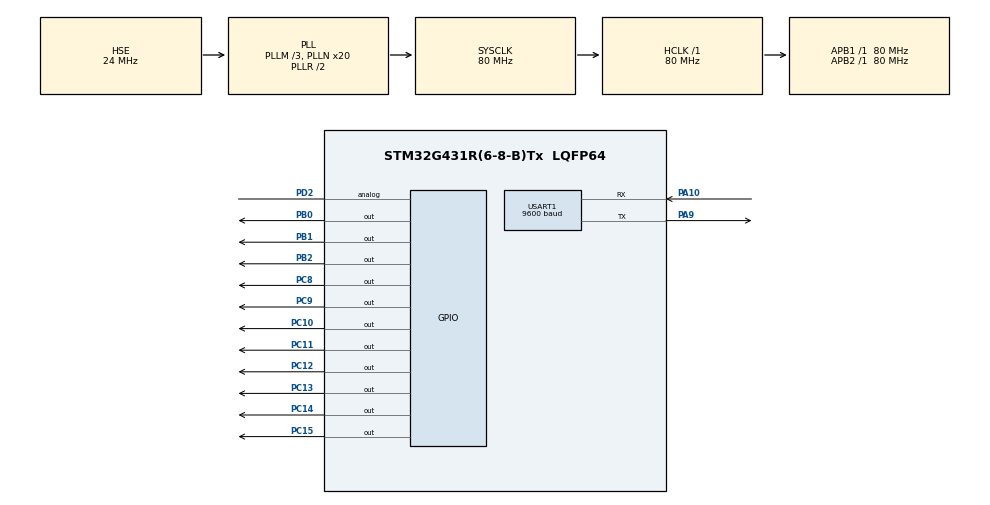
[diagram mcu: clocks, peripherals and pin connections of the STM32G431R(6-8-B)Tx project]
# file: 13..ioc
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Mcu.Family=STM32G4
Mcu.Name=STM32G431R(6-8-B)Tx
Mcu.Package=LQFP64
NVIC.PriorityGroup=NVIC_PRIORITYGROUP_4
PA10.Mode=Asynchronous
PA10.Signal=USART1_RX
PA13.Mode=Serial_Wire
PA13.Signal=SYS_JTMS-SWDIO
PA14.Mode=Serial_Wire
PA14.Signal=SYS_JTCK-SWCLK
PA9.Mode=Asynchronous
PA9.Signal=USART1_TX
PB0.Signal=GPIO_Output
PB1.Signal=GPIO_Output
PB2.Signal=GPIO_Output
PC10.Signal=GPIO_Output
PC11.Signal=GPIO_Output
PC12.Signal=GPIO_Output
PC13.Signal=GPIO_Output
PC14-OSC32_IN.Signal=GPIO_Output
PC15-OSC32_OUT.Signal=GPIO_Output
PC8.Signal=GPIO_Output
PC9.Signal=GPIO_Output
PD2.Signal=GPIO_Analog
PF0-OSC_IN.Mode=HSE-External-Oscillator
PF0-OSC_IN.Signal=RCC_OSC_IN
PF1-OSC_OUT.Mode=HSE-External-Oscillator
PF1-OSC_OUT.Signal=RCC_OSC_OUT
ProjectManager.HeapSize=0x200
ProjectManager.StackSize=0x400
ProjectManager.TargetToolchain=MDK-ARM V5.27
RCC.ADC12Freq_Value=80000000
RCC.AHBFreq_Value=80000000
RCC.APB1Freq_Value=80000000
RCC.APB1TimFreq_Value=80000000
RCC.APB2Freq_Value=80000000
RCC.APB2TimFreq_Value=80000000
RCC.CortexFreq_Value=80000000
RCC.EXTERNAL_CLOCK_VALUE=12288000
RCC.HCLKFreq_Value=80000000
RCC.HSE_VALUE=24000000
RCC.HSI48_VALUE=48000000
RCC.HSI_VALUE=16000000
RCC.LSE_VALUE=32768
RCC.PLLM=RCC_PLLM_DIV3
RCC.PLLN=20
RCC.PLLSourceVirtual=RCC_PLLSOURCE_HSE
RCC.SYSCLKFreq_VALUE=80000000
RCC.SYSCLKSource=RCC_SYSCLKSOURCE_PLLCLK
RCC.USBFreq_Value=80000000
RCC.VCOOutputFreq_Value=160000000
USART1.BaudRate=9600
USART1.VirtualMode-Asynchronous=VM_ASYNC
VP_SYS_VS_DBSignals.Mode=DisableDeadBatterySignals
board=custom

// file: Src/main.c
/* USER CODE BEGIN Header */
/**
  ******************************************************************************
  * @file           : main.c
  * @brief          : Main program body
  ******************************************************************************
  * @attention
  *
  * <h2><center>&copy; Copyright (c) 2023 STMicroelectronics.
  * All rights reserved.</center></h2>
  *
  * This software component is licensed by ST under BSD 3-Clause license,
  * the "License"; You may not use this file except in compliance with the
  * License. You may obtain a copy of the License at:
  *                        opensource.org/licenses/BSD-3-Clause
  *
  ******************************************************************************
  */
/* USER CODE END Header */

#include "main.h"
#include "usart.h"
#include "gpio.h"

/* USER CODE BEGIN Includes */
#include "lcd_hal.h"
#include "stdio.h"
/* USER CODE END Includes */

void SystemClock_Config(void);
/* USER CODE BEGIN PFP */
void ShowPSD(uint8_t B1,uint8_t B2,uint8_t B3);
/* USER CODE END PFP */

int main(void)
{

  /* MCU Configuration--------------------------------------------------------*/

  /* Reset of all peripherals, Initializes the Flash interface and the Systick. */
  HAL_Init();

  /* Configure the system clock */
  SystemClock_Config();

  /* Initialize all configured peripherals */
  MX_GPIO_Init();
  MX_USART1_UART_Init();
  /* USER CODE BEGIN 2 */
	LCD_Init();
	LCD_Clear(Black);
	LCD_SetTextColor(White);
	LCD_SetBackColor(Black);
	ShowPSD(1,2,3);
  /* USER CODE END 2 */

  /* Infinite loop */
  while (1)
  {

  }
}

void SystemClock_Config(void)
{
  RCC_OscInitTypeDef RCC_OscInitStruct = {0};
  RCC_ClkInitTypeDef RCC_ClkInitStruct = {0};
  RCC_PeriphCLKInitTypeDef PeriphClkInit = {0};

  /** Configure the main internal regulator output voltage
  */
  HAL_PWREx_ControlVoltageScaling(PWR_REGULATOR_VOLTAGE_SCALE1);
  /** Initializes the CPU, AHB and APB busses clocks
  */
  RCC_OscInitStruct.OscillatorType = RCC_OSCILLATORTYPE_HSE;
  RCC_OscInitStruct.HSEState = RCC_HSE_ON;
  RCC_OscInitStruct.PLL.PLLState = RCC_PLL_ON;
  RCC_OscInitStruct.PLL.PLLSource = RCC_PLLSOURCE_HSE;
  RCC_OscInitStruct.PLL.PLLM = RCC_PLLM_DIV3;
  RCC_OscInitStruct.PLL.PLLN = 20;
  RCC_OscInitStruct.PLL.PLLP = RCC_PLLP_DIV2;
  RCC_OscInitStruct.PLL.PLLQ = RCC_PLLQ_DIV2;
  RCC_OscInitStruct.PLL.PLLR = RCC_PLLR_DIV2;
  if (HAL_RCC_OscConfig(&RCC_OscInitStruct) != HAL_OK)
  {
    Error_Handler();
  }
  /** Initializes the CPU, AHB and APB busses clocks
  */
  RCC_ClkInitStruct.ClockType = RCC_CLOCKTYPE_HCLK|RCC_CLOCKTYPE_SYSCLK
                              |RCC_CLOCKTYPE_PCLK1|RCC_CLOCKTYPE_PCLK2;
  RCC_ClkInitStruct.SYSCLKSource = RCC_SYSCLKSOURCE_PLLCLK;
  RCC_ClkInitStruct.AHBCLKDivider = RCC_SYSCLK_DIV1;
  RCC_ClkInitStruct.APB1CLKDivider = RCC_HCLK_DIV1;
  RCC_ClkInitStruct.APB2CLKDivider = RCC_HCLK_DIV1;

  if (HAL_RCC_ClockConfig(&RCC_ClkInitStruct, FLASH_LATENCY_3) != HAL_OK)
  {
    Error_Handler();
  }
  /** Initializes the peripherals clocks
  */
  PeriphClkInit.PeriphClockSelection = RCC_PERIPHCLK_USART1;
  PeriphClkInit.Usart1ClockSelection = RCC_USART1CLKSOURCE_PCLK2;
  if (HAL_RCCEx_PeriphCLKConfig(&PeriphClkInit) != HAL_OK)
  {
    Error_Handler();
  }
}

/* USER CODE BEGIN 4 */
void ShowPSD(uint8_t B1,uint8_t B2,uint8_t B3)
{
	char Lcd_Line3[20];
	char Lcd_Line4[20];
	char Lcd_Line5[20];
	LCD_DisplayStringLine(Line1, "       PSD          ");
	sprintf(Lcd_Line3,"    B1:%d",B1);
	sprintf(Lcd_Line4,"    B2:%d",B2);
	sprintf(Lcd_Line5,"    B3:%d",B3);
}

/* USER CODE END 4 */

void Error_Handler(void)
{
}

/************************ (C) COPYRIGHT STMicroelectronics *****END OF FILE****/
